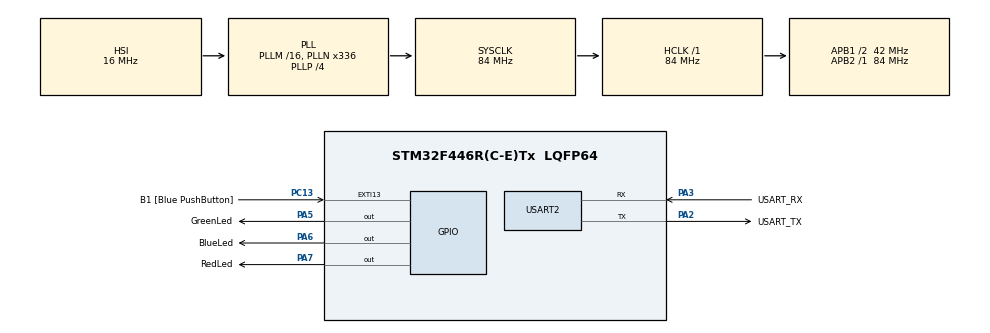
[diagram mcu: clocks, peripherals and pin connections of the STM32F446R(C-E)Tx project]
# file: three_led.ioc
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Mcu.Family=STM32F4
Mcu.Name=STM32F446R(C-E)Tx
Mcu.Package=LQFP64
NVIC.PriorityGroup=NVIC_PRIORITYGROUP_0
NVIC.TIM6_DAC_IRQn=true\:0\:0\:false\:false\:true\:false\:true\:true
NVIC.TimeBase=TIM6_DAC_IRQn
NVIC.TimeBaseIP=TIM6
PA13.GPIO_Label=TMS
PA13.Mode=Serial_Wire
PA13.Signal=SYS_JTMS-SWDIO
PA14.GPIO_Label=TCK
PA14.Mode=Serial_Wire
PA14.Signal=SYS_JTCK-SWCLK
PA2.GPIO_Label=USART_TX
PA2.Mode=Asynchronous
PA2.Signal=USART2_TX
PA3.GPIO_Label=USART_RX
PA3.Mode=Asynchronous
PA3.Signal=USART2_RX
PA5.GPIO_Label=GreenLed
PA5.Signal=GPIO_Output
PA6.GPIO_Label=BlueLed
PA6.Signal=GPIO_Output
PA7.GPIO_Label=RedLed
PA7.Signal=GPIO_Output
PB3.GPIO_Label=SWO
PB3.Signal=SYS_JTDO-SWO
PC13.GPIO_Label=B1 [Blue PushButton]
PC13.GPIO_ModeDefaultEXTI=GPIO_MODE_IT_FALLING
PC13.Signal=GPXTI13
PC14-OSC32_IN.Mode=LSE-External-Oscillator
PC14-OSC32_IN.Signal=RCC_OSC32_IN
PC15-OSC32_OUT.Mode=LSE-External-Oscillator
PC15-OSC32_OUT.Signal=RCC_OSC32_OUT
PH0-OSC_IN.Mode=HSE-External-Oscillator
PH0-OSC_IN.Signal=RCC_OSC_IN
PH1-OSC_OUT.Mode=HSE-External-Oscillator
PH1-OSC_OUT.Signal=RCC_OSC_OUT
ProjectManager.HeapSize=0x200
ProjectManager.StackSize=0x400
ProjectManager.TargetToolchain=STM32CubeIDE
RCC.48MHZClocksFreq_Value=84000000
RCC.AHBFreq_Value=84000000
RCC.APB1CLKDivider=RCC_HCLK_DIV2
RCC.APB1Freq_Value=42000000
RCC.APB1TimFreq_Value=84000000
RCC.APB2Freq_Value=84000000
RCC.APB2TimFreq_Value=84000000
RCC.CortexFreq_Value=84000000
RCC.FLatency-AdvancedSettings=FLASH_LATENCY_2
RCC.HCLKFreq_Value=84000000
RCC.HSE_VALUE=8000000
RCC.HSI_VALUE=16000000
RCC.PLLN=336
RCC.PLLP=RCC_PLLP_DIV4
RCC.SYSCLKFreq_VALUE=84000000
RCC.SYSCLKSource=RCC_SYSCLKSOURCE_PLLCLK
RCC.USBFreq_Value=168000000
RCC.VCOOutputFreq_Value=336000000
USART2.VirtualMode=VM_ASYNC
VP_SYS_VS_tim6.Mode=TIM6
board=NUCLEO-F446RE

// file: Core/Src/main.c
/* USER CODE BEGIN Header */
/**
  ******************************************************************************
  * @file           : main.c
  * @brief          : Main program body
  ******************************************************************************
  * @attention
  *
  * Copyright (c) 2026 STMicroelectronics.
  * All rights reserved.
  *
  * This software is licensed under terms that can be found in the LICENSE file
  * in the root directory of this software component.
  * If no LICENSE file comes with this software, it is provided AS-IS.
  *
  ******************************************************************************
  */
/* USER CODE END Header */
#include "main.h"
#include <stdio.h>
#include "FreeRTOS.h"
#include "task.h"

UART_HandleTypeDef huart2;

void SystemClock_Config(void);
static void MX_GPIO_Init(void);
static void MX_USART2_UART_Init(void);
/* USER CODE BEGIN PFP */
static void led_green_handler(void *pvParameters);
static void led_red_handler(void *pvParameters);
static void led_blue_handler(void *pvParameters);

/* USER CODE END PFP */

int main(void)
{

	/* USER CODE BEGIN 1 */
	TaskHandle_t task1_handle;
	TaskHandle_t task2_handle;
	TaskHandle_t task3_handle;
	BaseType_t xReturned;
	/* USER CODE END 1 */

  /* MCU Configuration--------------------------------------------------------*/

  /* Reset of all peripherals, Initializes the Flash interface and the Systick. */
  HAL_Init();

  /* Configure the system clock */
  SystemClock_Config();

  /* Initialize all configured peripherals */
  MX_GPIO_Init();
  MX_USART2_UART_Init();
  /* USER CODE BEGIN 2 */
  xReturned = xTaskCreate(
      led_green_handler,
      "Green led task",
      100,        /* Stack size */
      NULL,       /* Parameter passed */
      2,          /* Priority at which the task runs */
      &task1_handle);

  configASSERT(xReturned == pdPASS);

  xReturned = xTaskCreate(
      led_blue_handler,
      "Blue led task",
      100,        /* Stack size */
      NULL,       /* Parameter passed */
      2,          /* Priority at which the task runs */
      &task2_handle);

  configASSERT(xReturned == pdPASS);

  xReturned = xTaskCreate(
      led_red_handler,
      "Red led task",
      100,        /* Stack size */
      NULL,       /* Parameter passed */
      2,          /* Priority at which the task runs */
      &task3_handle);

  configASSERT(xReturned == pdPASS);

  vTaskStartScheduler();
  /* USER CODE END 2 */

  /* USER CODE END 2 */

  /* Infinite loop */
  while (1)
  {

  }
}

void SystemClock_Config(void)
{
  RCC_OscInitTypeDef RCC_OscInitStruct = {0};
  RCC_ClkInitTypeDef RCC_ClkInitStruct = {0};

  /** Configure the main internal regulator output voltage
  */
  __HAL_RCC_PWR_CLK_ENABLE();
  __HAL_PWR_VOLTAGESCALING_CONFIG(PWR_REGULATOR_VOLTAGE_SCALE3);

  /** Initializes the RCC Oscillators according to the specified parameters
  * in the RCC_OscInitTypeDef structure.
  */
  RCC_OscInitStruct.OscillatorType = RCC_OSCILLATORTYPE_HSI;
  RCC_OscInitStruct.HSIState = RCC_HSI_ON;
  RCC_OscInitStruct.HSICalibrationValue = RCC_HSICALIBRATION_DEFAULT;
  RCC_OscInitStruct.PLL.PLLState = RCC_PLL_ON;
  RCC_OscInitStruct.PLL.PLLSource = RCC_PLLSOURCE_HSI;
  RCC_OscInitStruct.PLL.PLLM = 16;
  RCC_OscInitStruct.PLL.PLLN = 336;
  RCC_OscInitStruct.PLL.PLLP = RCC_PLLP_DIV4;
  RCC_OscInitStruct.PLL.PLLQ = 2;
  RCC_OscInitStruct.PLL.PLLR = 2;
  if (HAL_RCC_OscConfig(&RCC_OscInitStruct) != HAL_OK)
  {
    Error_Handler();
  }

  /** Initializes the CPU, AHB and APB buses clocks
  */
  RCC_ClkInitStruct.ClockType = RCC_CLOCKTYPE_HCLK|RCC_CLOCKTYPE_SYSCLK
                              |RCC_CLOCKTYPE_PCLK1|RCC_CLOCKTYPE_PCLK2;
  RCC_ClkInitStruct.SYSCLKSource = RCC_SYSCLKSOURCE_PLLCLK;
  RCC_ClkInitStruct.AHBCLKDivider = RCC_SYSCLK_DIV1;
  RCC_ClkInitStruct.APB1CLKDivider = RCC_HCLK_DIV2;
  RCC_ClkInitStruct.APB2CLKDivider = RCC_HCLK_DIV1;

  if (HAL_RCC_ClockConfig(&RCC_ClkInitStruct, FLASH_LATENCY_2) != HAL_OK)
  {
    Error_Handler();
  }
}

static void MX_USART2_UART_Init(void)
{

  huart2.Instance = USART2;
  huart2.Init.BaudRate = 115200;
  huart2.Init.WordLength = UART_WORDLENGTH_8B;
  huart2.Init.StopBits = UART_STOPBITS_1;
  huart2.Init.Parity = UART_PARITY_NONE;
  huart2.Init.Mode = UART_MODE_TX_RX;
  huart2.Init.HwFlowCtl = UART_HWCONTROL_NONE;
  huart2.Init.OverSampling = UART_OVERSAMPLING_16;
  if (HAL_UART_Init(&huart2) != HAL_OK)
  {
    Error_Handler();
  }

}

static void MX_GPIO_Init(void)
{
  GPIO_InitTypeDef GPIO_InitStruct = {0};

  /* GPIO Ports Clock Enable */
  __HAL_RCC_GPIOC_CLK_ENABLE();
  __HAL_RCC_GPIOH_CLK_ENABLE();
  __HAL_RCC_GPIOA_CLK_ENABLE();
  __HAL_RCC_GPIOB_CLK_ENABLE();

  /*Configure GPIO pin Output Level */
  HAL_GPIO_WritePin(GPIOA, GreenLed_Pin|BlueLed_Pin|RedLed_Pin, GPIO_PIN_RESET);

  /*Configure GPIO pin : B1_Pin */
  GPIO_InitStruct.Pin = B1_Pin;
  GPIO_InitStruct.Mode = GPIO_MODE_IT_FALLING;
  GPIO_InitStruct.Pull = GPIO_NOPULL;
  HAL_GPIO_Init(B1_GPIO_Port, &GPIO_InitStruct);

  /*Configure GPIO pins : GreenLed_Pin BlueLed_Pin RedLed_Pin */
  GPIO_InitStruct.Pin = GreenLed_Pin|BlueLed_Pin|RedLed_Pin;
  GPIO_InitStruct.Mode = GPIO_MODE_OUTPUT_PP;
  GPIO_InitStruct.Pull = GPIO_NOPULL;
  GPIO_InitStruct.Speed = GPIO_SPEED_FREQ_LOW;
  HAL_GPIO_Init(GPIOA, &GPIO_InitStruct);

}

/* USER CODE BEGIN 4 */
static void led_green_handler(void* parameters)
{
    while(1)
    {
        printf("task1\n");
        HAL_GPIO_TogglePin(GreenLed_GPIO_Port, GreenLed_Pin);
        HAL_Delay(1000);
        taskYIELD();
    }
}
static void led_red_handler(void* parameters)
{
    while(1)
    {
        printf("task2\n");
        HAL_GPIO_TogglePin(RedLed_GPIO_Port, RedLed_Pin);
        HAL_Delay(800);
        taskYIELD();
    }
}
static void led_blue_handler(void* parameters)
{
    while(1)
    {
        printf("task3\n");
        HAL_GPIO_TogglePin(BlueLed_GPIO_Port, BlueLed_Pin);
        HAL_Delay(400);
        taskYIELD();

    }
}

/* USER CODE END 4 */

void HAL_TIM_PeriodElapsedCallback(TIM_HandleTypeDef *htim)
{
  if (htim->Instance == TIM6)
  {
    HAL_IncTick();
  }
}

void Error_Handler(void)
{
  __disable_irq();
  while (1)
  {
  }
}
